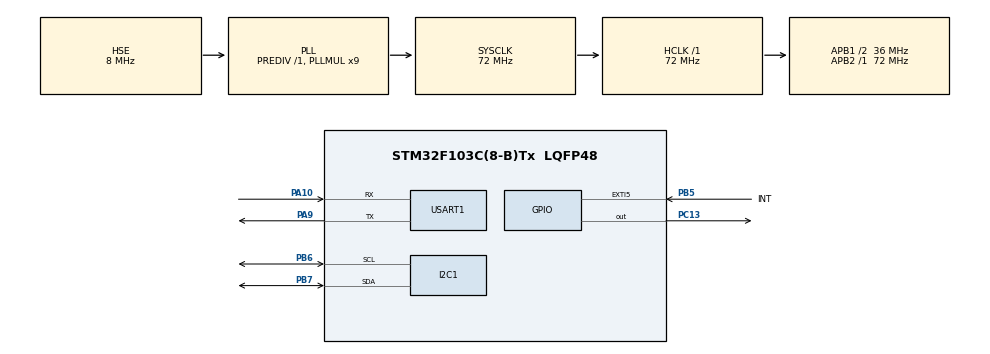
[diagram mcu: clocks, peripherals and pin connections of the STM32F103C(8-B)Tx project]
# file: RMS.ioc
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FREERTOS.Mutexes01=I2C_Bus,Dynamic,NULL,Available
FREERTOS.Queues01=StringPrint,10,20,1,Dynamic,NULL,NULL;StringRS485,50,50,1,Dynamic,NULL,NULL
FREERTOS.Tasks01=RXUARTTask,3,512,RX_Task,Default,NULL,Dynamic,NULL,NULL;LCD,1,512,LCD_Task,Default,NULL,Dynamic,NULL,NULL;ReadTempTask,-1,256,Temp_Task,Default,NULL,Dynamic,NULL,NULL;ReadPressTask,-1,256,Press_Task,Default,NULL,Dynamic,NULL,NULL;KeyTask,2,512,Key_Task,Default,NULL,Dynamic,NULL,NULL;TXUARTTask,0,512,TX_Task,Default,NULL,Dynamic,NULL,NULL
FREERTOS.configGENERATE_RUN_TIME_STATS=1
FREERTOS.configMAX_PRIORITIES=7
FREERTOS.configTOTAL_HEAP_SIZE=16384
FREERTOS.configUSE_NEWLIB_REENTRANT=1
FREERTOS.configUSE_STATS_FORMATTING_FUNCTIONS=1
FREERTOS.configUSE_TRACE_FACILITY=1
FREERTOS.copyHeapFile=0
Mcu.Family=STM32F1
Mcu.Name=STM32F103C(8-B)Tx
Mcu.Package=LQFP48
NVIC.EXTI9_5_IRQn=true\:5\:0\:false\:false\:true\:true\:true\:true\:true
NVIC.PriorityGroup=NVIC_PRIORITYGROUP_4
NVIC.TIM4_IRQn=true\:15\:0\:false\:false\:true\:false\:false\:true\:true
NVIC.TimeBase=TIM4_IRQn
NVIC.TimeBaseIP=TIM4
PA10.Mode=Asynchronous
PA10.Signal=USART1_RX
PA13.Mode=Serial_Wire
PA13.Signal=SYS_JTMS-SWDIO
PA14.Mode=Serial_Wire
PA14.Signal=SYS_JTCK-SWCLK
PA9.Mode=Asynchronous
PA9.Signal=USART1_TX
PB5.GPIO_Label=INT
PB5.GPIO_PuPd=GPIO_PULLUP
PB5.Signal=GPXTI5
PB6.Mode=I2C
PB6.Signal=I2C1_SCL
PB7.Mode=I2C
PB7.Signal=I2C1_SDA
PC13-TAMPER-RTC.Signal=GPIO_Output
PC14-OSC32_IN.Mode=LSE-External-Oscillator
PC14-OSC32_IN.Signal=RCC_OSC32_IN
PC15-OSC32_OUT.Mode=LSE-External-Oscillator
PC15-OSC32_OUT.Signal=RCC_OSC32_OUT
PD0-OSC_IN.Mode=HSE-External-Oscillator
PD0-OSC_IN.Signal=RCC_OSC_IN
PD1-OSC_OUT.Mode=HSE-External-Oscillator
PD1-OSC_OUT.Signal=RCC_OSC_OUT
ProjectManager.HeapSize=0x200
ProjectManager.StackSize=0x400
ProjectManager.TargetToolchain=STM32CubeIDE
RCC.AHBFreq_Value=72000000
RCC.APB1CLKDivider=RCC_HCLK_DIV2
RCC.APB1Freq_Value=36000000
RCC.APB1TimFreq_Value=72000000
RCC.APB2Freq_Value=72000000
RCC.APB2TimFreq_Value=72000000
RCC.HCLKFreq_Value=72000000
RCC.PLLMUL=RCC_PLL_MUL9
RCC.PLLSourceVirtual=RCC_PLLSOURCE_HSE
RCC.SYSCLKFreq_VALUE=72000000
RCC.SYSCLKSource=RCC_SYSCLKSOURCE_PLLCLK
RCC.USBFreq_Value=72000000
USART1.VirtualMode=VM_ASYNC
VP_FREERTOS_VS_CMSIS_V1.Mode=CMSIS_V1
VP_SYS_VS_tim4.Mode=TIM4
board=custom

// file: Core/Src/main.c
/* USER CODE BEGIN Header */
/**
  ******************************************************************************
  * @file           : main.c
  * @brief          : Main program body
  ******************************************************************************
  * @attention
  *
  * Copyright (c) 2025 STMicroelectronics.
  * All rights reserved.
  *
  * This software is licensed under terms that can be found in the LICENSE file
  * in the root directory of this software component.
  * If no LICENSE file comes with this software, it is provided AS-IS.
  *
  ******************************************************************************
  */
/* USER CODE END Header */
#include "main.h"
#include "cmsis_os.h"

/* USER CODE BEGIN Includes */
#include "liquidcrystal_i2c.h"
#include "stdio.h"
#include "MPR121.h"
#include "bmp180_for_stm32_hal.h"
#include "string.h"
#include "stdlib.h"
//#include "task.h"
//#include "FreeRTOSConfig.h"
/* USER CODE END Includes */

/* USER CODE BEGIN PM */
#define MASK_RESPONSE 127
#define RESPONSES(Code)   (Code)
#define UPGRADE(Code) (Code+MASK_RESPONSE)
#define CODE_TEMP  1
#define CODE_PRES  2
#define CODE_KEY   3
#define CODE_COUNT 4
#define CODE_RESP  5
#define MY_ADDRESS 111
#include "funtion.h"
/* USER CODE END PM */

I2C_HandleTypeDef hi2c1;

UART_HandleTypeDef huart1;

osThreadId RXUARTTaskHandle;
osThreadId LCDHandle;
osThreadId ReadTempTaskHandle;
osThreadId ReadPressTaskHandle;
osThreadId KeyTaskHandle;
osThreadId TXUARTTaskHandle;
osMessageQId StringPrintHandle;
osMessageQId StringRS485Handle;
osMutexId I2C_BusHandle;
/* USER CODE BEGIN PV */

#define C_INDEX 0
#define D_INDEX 1
#define T_INDEX 2

#define RX_PM_C 100
#define RX_PM_D 150
#define RX_PM_T 150

#define TX_PM_C 10
#define TX_PM_D 100
#define TX_PM_T 1000

#define TEMP_PM_C 7
#define TEMP_PM_D 5000
#define TEMP_PM_T 5000

#define PRES_PM_C 36
#define PRES_PM_D 5000
#define PRES_PM_T 5000

#define KEYB_PM_C 1
#define KEYB_PM_D 100
#define KEYB_PM_T 200

#define LCD_PM_C 50
#define LCD_PM_D 100
#define LCD_PM_T 1000

int RX_PM[] = {RX_PM_C, RX_PM_D, RX_PM_T};
int TX_PM[] = {TX_PM_C, TX_PM_D, TX_PM_T};
int Temp_PM[] = {TEMP_PM_C, TEMP_PM_D, TEMP_PM_T};
int Pres_PM[] = {PRES_PM_C, PRES_PM_D, PRES_PM_T};
int KeyB_PM[] = {KEYB_PM_C, KEYB_PM_D, KEYB_PM_T};
int LCD_PM[] = {LCD_PM_C, LCD_PM_D, LCD_PM_T};

int *ALL_TASK[] = {RX_PM, TX_PM, Temp_PM, Pres_PM, KeyB_PM, LCD_PM};

int DF_RX_PM[] = {RX_PM_C, RX_PM_D, RX_PM_T};
int DF_TX_PM[] = {TX_PM_C, TX_PM_D, TX_PM_T};
int DF_Temp_PM[] = {TEMP_PM_C, TEMP_PM_D, TEMP_PM_T};
int DF_Pres_PM[] = {PRES_PM_C, PRES_PM_D, PRES_PM_T};
int DF_KeyB_PM[] = {KEYB_PM_C, KEYB_PM_D, KEYB_PM_T};
int DF_LCD_PM[] = {LCD_PM_C, LCD_PM_D, LCD_PM_T};

int *DF_ALL_TASK[] = {DF_RX_PM, DF_TX_PM, DF_Temp_PM, DF_Pres_PM, DF_KeyB_PM, DF_LCD_PM};

char indicate_1[] = "Send To RS485";
char indicate_T[] = "Send Temperature";
char indicate_P[] = "Send Pressure";
char indicate_C[] = "Send Count";
char indicate_M[] = "Send Status";
char detect_touch[] = "Detect Touch %d";
char indicate_E[] = "CRC Error";
char indicate_E_CDT[] = "Invalid C D T";
char indicate_C_D_T[] = "Set C D T";
char indicate_R_C_D_T[] = "Reset C D T";
//char key_board[20];
float temperature;
int32_t pressure;
//uint8_t len_key_board = 0, last_send = 0;
uint16_t count_touch = 0;
/* USER CODE END PV */

void SystemClock_Config(void);
static void MX_GPIO_Init(void);
static void MX_I2C1_Init(void);
static void MX_USART1_UART_Init(void);
void RX_Task(void const * argument);
void LCD_Task(void const * argument);
void Temp_Task(void const * argument);
void Press_Task(void const * argument);
void Key_Task(void const * argument);
void TX_Task(void const * argument);

/* USER CODE BEGIN PFP */
void HAL_GPIO_EXTI_Callback(uint16_t GPIO_Pin);
/* USER CODE END PFP */

/* USER CODE BEGIN 0 */
void UserDelayUntil(uint32_t *lastTick, uint32_t periodMs)
{
    uint32_t currentTick = xTaskGetTickCount();  // Lấy tick hiện tại
    uint32_t nextTick = *lastTick + pdMS_TO_TICKS(periodMs);  // Tính tick tiếp theo
    if ((int32_t)(nextTick - currentTick) > 0)
    {
        vTaskDelay(nextTick - currentTick);  // Delay nếu chưa tới thời gian tiếp theo
    }
    *lastTick = nextTick;  // Cập nhật tick cho lần tiếp theo
}

/* USER CODE END 0 */

int main(void)
{

  /* MCU Configuration--------------------------------------------------------*/

  /* Reset of all peripherals, Initializes the Flash interface and the Systick. */
  HAL_Init();

  /* Configure the system clock */
  SystemClock_Config();

  /* Initialize all configured peripherals */
  MX_GPIO_Init();
  MX_I2C1_Init();
  MX_USART1_UART_Init();
  /* USER CODE BEGIN 2 */
  HD44780_Init(2);
  MPR121_Init();
  BMP180_Init(&hi2c1);
  MPR121_Init();
  BMP180_SetOversampling(BMP180_ULTRA);
  BMP180_UpdateCalibrationData();
  HD44780_SetCursor(0,0);
  HD44780_PrintStr("INIT LCD 1602");
//  count_touch = 0;

  /* USER CODE END 2 */

  /* Create the mutex(es) */
  /* definition and creation of I2C_Bus */
  osMutexDef(I2C_Bus);
  I2C_BusHandle = osMutexCreate(osMutex(I2C_Bus));

  /* Create the queue(s) */
  /* definition and creation of StringPrint */
  osMessageQDef(StringPrint, 10, 20);
  StringPrintHandle = osMessageCreate(osMessageQ(StringPrint), NULL);

  /* definition and creation of StringRS485 */
  osMessageQDef(StringRS485, 50, 50);
  StringRS485Handle = osMessageCreate(osMessageQ(StringRS485), NULL);

  /* Create the thread(s) */
  /* definition and creation of RXUARTTask */
  osThreadDef(RXUARTTask, RX_Task, osPriorityRealtime, 0, 512);
  RXUARTTaskHandle = osThreadCreate(osThread(RXUARTTask), NULL);

  /* definition and creation of LCD */
  osThreadDef(LCD, LCD_Task, osPriorityAboveNormal, 0, 512);
  LCDHandle = osThreadCreate(osThread(LCD), NULL);

  /* definition and creation of ReadTempTask */
  osThreadDef(ReadTempTask, Temp_Task, osPriorityBelowNormal, 0, 256);
  ReadTempTaskHandle = osThreadCreate(osThread(ReadTempTask), NULL);

  /* definition and creation of ReadPressTask */
  osThreadDef(ReadPressTask, Press_Task, osPriorityBelowNormal, 0, 256);
  ReadPressTaskHandle = osThreadCreate(osThread(ReadPressTask), NULL);

  /* definition and creation of KeyTask */
  osThreadDef(KeyTask, Key_Task, osPriorityHigh, 0, 512);
  KeyTaskHandle = osThreadCreate(osThread(KeyTask), NULL);

  /* definition and creation of TXUARTTask */
  osThreadDef(TXUARTTask, TX_Task, osPriorityNormal, 0, 512);
  TXUARTTaskHandle = osThreadCreate(osThread(TXUARTTask), NULL);

  /* Start scheduler */
  osKernelStart();

  /* We should never get here as control is now taken by the scheduler */

  /* Infinite loop */
  while (1)
  {

  }
}

void SystemClock_Config(void)
{
  RCC_OscInitTypeDef RCC_OscInitStruct = {0};
  RCC_ClkInitTypeDef RCC_ClkInitStruct = {0};

  /** Initializes the RCC Oscillators according to the specified parameters
  * in the RCC_OscInitTypeDef structure.
  */
  RCC_OscInitStruct.OscillatorType = RCC_OSCILLATORTYPE_HSE;
  RCC_OscInitStruct.HSEState = RCC_HSE_ON;
  RCC_OscInitStruct.HSEPredivValue = RCC_HSE_PREDIV_DIV1;
  RCC_OscInitStruct.HSIState = RCC_HSI_ON;
  RCC_OscInitStruct.PLL.PLLState = RCC_PLL_ON;
  RCC_OscInitStruct.PLL.PLLSource = RCC_PLLSOURCE_HSE;
  RCC_OscInitStruct.PLL.PLLMUL = RCC_PLL_MUL9;
  if (HAL_RCC_OscConfig(&RCC_OscInitStruct) != HAL_OK)
  {
    Error_Handler();
  }

  /** Initializes the CPU, AHB and APB buses clocks
  */
  RCC_ClkInitStruct.ClockType = RCC_CLOCKTYPE_HCLK|RCC_CLOCKTYPE_SYSCLK
                              |RCC_CLOCKTYPE_PCLK1|RCC_CLOCKTYPE_PCLK2;
  RCC_ClkInitStruct.SYSCLKSource = RCC_SYSCLKSOURCE_PLLCLK;
  RCC_ClkInitStruct.AHBCLKDivider = RCC_SYSCLK_DIV1;
  RCC_ClkInitStruct.APB1CLKDivider = RCC_HCLK_DIV2;
  RCC_ClkInitStruct.APB2CLKDivider = RCC_HCLK_DIV1;

  if (HAL_RCC_ClockConfig(&RCC_ClkInitStruct, FLASH_LATENCY_2) != HAL_OK)
  {
    Error_Handler();
  }
}

static void MX_I2C1_Init(void)
{

  hi2c1.Instance = I2C1;
  hi2c1.Init.ClockSpeed = 100000;
  hi2c1.Init.DutyCycle = I2C_DUTYCYCLE_2;
  hi2c1.Init.OwnAddress1 = 0;
  hi2c1.Init.AddressingMode = I2C_ADDRESSINGMODE_7BIT;
  hi2c1.Init.DualAddressMode = I2C_DUALADDRESS_DISABLE;
  hi2c1.Init.OwnAddress2 = 0;
  hi2c1.Init.GeneralCallMode = I2C_GENERALCALL_DISABLE;
  hi2c1.Init.NoStretchMode = I2C_NOSTRETCH_DISABLE;
  if (HAL_I2C_Init(&hi2c1) != HAL_OK)
  {
    Error_Handler();
  }

}

static void MX_USART1_UART_Init(void)
{

  huart1.Instance = USART1;
  huart1.Init.BaudRate = 115200;
  huart1.Init.WordLength = UART_WORDLENGTH_8B;
  huart1.Init.StopBits = UART_STOPBITS_1;
  huart1.Init.Parity = UART_PARITY_NONE;
  huart1.Init.Mode = UART_MODE_TX_RX;
  huart1.Init.HwFlowCtl = UART_HWCONTROL_NONE;
  huart1.Init.OverSampling = UART_OVERSAMPLING_16;
  if (HAL_UART_Init(&huart1) != HAL_OK)
  {
    Error_Handler();
  }

}

static void MX_GPIO_Init(void)
{
  GPIO_InitTypeDef GPIO_InitStruct = {0};

  /* GPIO Ports Clock Enable */
  __HAL_RCC_GPIOC_CLK_ENABLE();
  __HAL_RCC_GPIOD_CLK_ENABLE();
  __HAL_RCC_GPIOA_CLK_ENABLE();
  __HAL_RCC_GPIOB_CLK_ENABLE();

  /*Configure GPIO pin Output Level */
  HAL_GPIO_WritePin(GPIOC, GPIO_PIN_13, GPIO_PIN_RESET);

  /*Configure GPIO pin : PC13 */
  GPIO_InitStruct.Pin = GPIO_PIN_13;
  GPIO_InitStruct.Mode = GPIO_MODE_OUTPUT_PP;
  GPIO_InitStruct.Pull = GPIO_NOPULL;
  GPIO_InitStruct.Speed = GPIO_SPEED_FREQ_LOW;
  HAL_GPIO_Init(GPIOC, &GPIO_InitStruct);

  /*Configure GPIO pin : INT_Pin */
  GPIO_InitStruct.Pin = INT_Pin;
  GPIO_InitStruct.Mode = GPIO_MODE_IT_RISING;
  GPIO_InitStruct.Pull = GPIO_PULLUP;
  HAL_GPIO_Init(INT_GPIO_Port, &GPIO_InitStruct);

  /* EXTI interrupt init*/
  HAL_NVIC_SetPriority(EXTI9_5_IRQn, 5, 0);
  HAL_NVIC_EnableIRQ(EXTI9_5_IRQn);

}

/* USER CODE BEGIN 4 */
void HAL_GPIO_EXTI_Callback(uint16_t GPIO_Pin)
{
	if(GPIO_Pin == INT_Pin) {
		HAL_GPIO_TogglePin(GPIOC, GPIO_PIN_13);
		count_touch++;
	} else {
		__NOP();
	}
}

/* USER CODE END 4 */

void RX_Task(void const * argument)
{
  /* USER CODE BEGIN 5 */
  /* Infinite loop */
	char read_to_rs485[50];
	char send_to_rs485[50];
	uint32_t GetTick = 0;
  for(;;)
  {
		memset((void*)read_to_rs485,0,sizeof(read_to_rs485));
		HAL_UART_Receive(&huart1, (uint8_t *)&read_to_rs485, sizeof (read_to_rs485) , RX_PM[C_INDEX]);
		  if(strlen(read_to_rs485) > 1)
		  {
			  HAL_GPIO_TogglePin(GPIOC, GPIO_PIN_13);
			  DataStruct result;
			  parse_data(read_to_rs485,&result);
			  if(result.Addr == MY_ADDRESS && check_crc(&result) == result.Crc)
			  {
				  if(result.Code == 1)
				  {
					  if(result.Data[0] == '1')
					  {
						  memset((void*)send_to_rs485,0,sizeof(send_to_rs485));
						  sprintf(send_to_rs485, "%.1fC", temperature);
						  send_to_rs485[strlen(send_to_rs485)+1] = RESPONSES(CODE_TEMP);
						  osMessagePut(StringRS485Handle, (uint32_t)send_to_rs485, osWaitForever);
						  osMessagePut(StringPrintHandle, (uint32_t)indicate_T, osWaitForever);
					  }
					  else if (result.Data[0] == '2')
					  {
						  memset((void*)send_to_rs485,0,sizeof(send_to_rs485));
						  sprintf(send_to_rs485, "%dPa", (int) pressure);
						  send_to_rs485[strlen(send_to_rs485)+1] = RESPONSES(CODE_PRES);
						  osMessagePut(StringRS485Handle, (uint32_t)send_to_rs485, osWaitForever);
						  osMessagePut(StringPrintHandle, (uint32_t)indicate_P, osWaitForever);
					  }
					  else if (result.Data[0] == '4')
					  {
						  memset((void*)send_to_rs485,0,sizeof(send_to_rs485));
						  sprintf(send_to_rs485, "%dN", (int) count_touch);
						  send_to_rs485[strlen(send_to_rs485)+1] = RESPONSES(CODE_COUNT);
						  osMessagePut(StringRS485Handle, (uint32_t)send_to_rs485, osWaitForever);
						  osMessagePut(StringPrintHandle, (uint32_t)indicate_C, osWaitForever);
					  }
					  else
					  {
						  memset((void*)send_to_rs485,0,sizeof(send_to_rs485));
						  sprintf(send_to_rs485, "Invalid Data");
						  send_to_rs485[strlen(send_to_rs485)+1] = RESPONSES(CODE_RESP);
						  osMessagePut(StringRS485Handle, (uint32_t)send_to_rs485, osWaitForever);
						  osMessagePut(StringPrintHandle, (uint32_t)send_to_rs485, osWaitForever);
					  }
				  }
				  else if(result.Code == 2)
				  {
					  result.Data[result.Len] = '\0';
					  memset((void*)send_to_rs485,0,sizeof(send_to_rs485));
					  sprintf(send_to_rs485, "Okee");
					  send_to_rs485[strlen(send_to_rs485)+1] = RESPONSES(CODE_RESP);
					  osMessagePut(StringRS485Handle, (uint32_t)send_to_rs485, osWaitForever);
					  osMessagePut(StringPrintHandle, (uint32_t)result.Data, osWaitForever);
				  }
				  else if(result.Code == 3)
				  {
					  result.Data[result.Len] = '\0';
					  memset((void*)send_to_rs485,0,sizeof(send_to_rs485));
					  sprintf(send_to_rs485, "Okee");
					  send_to_rs485[strlen(send_to_rs485)+1] = RESPONSES(CODE_RESP);
					  osMessagePut(StringRS485Handle, (uint32_t)send_to_rs485, osWaitForever);
					  osMessagePut(StringPrintHandle, (uint32_t)indicate_M, osWaitForever);
				  }
				  else if(result.Code == 4)
				  {
					  int Task = -1, NewC = 0, NewD = 0, NewT = 0;
					  char *Res = indicate_E_CDT;
					  result.Data[result.Len] = '\0';
					  if(sscanf((char*)result.Data, "%d%d%d%d",&Task, &NewC, &NewD, &NewT) == 4)
					  {
						  if(Task >= 0 && Task < 6 && NewC < NewD && NewD <= NewT)
						  {
							  ALL_TASK[Task][C_INDEX] = NewC;
							  ALL_TASK[Task][D_INDEX] = NewD;
							  ALL_TASK[Task][T_INDEX] = NewT;
							  Res = indicate_C_D_T;
						  }
					  }
					  memset((void*)send_to_rs485,0,sizeof(send_to_rs485));
					  sprintf(send_to_rs485, Res);
					  send_to_rs485[strlen(send_to_rs485)+1] = RESPONSES(CODE_RESP);
					  osMessagePut(StringRS485Handle, (uint32_t)send_to_rs485, osWaitForever);
					  osMessagePut(StringPrintHandle, (uint32_t)Res, osWaitForever);
				  }
				  else if(result.Code == 5)
				  {
					  for(int i = 0; i < 5; i++)
					  {
						  for (int j = 0; j < 3; j++)
						  {
							  ALL_TASK[i][j] = DF_ALL_TASK[i][j];
						  }
					  }
					  memset((void*)send_to_rs485,0,sizeof(send_to_rs485));
					  sprintf(send_to_rs485, indicate_R_C_D_T);
					  send_to_rs485[strlen(send_to_rs485)+1] = RESPONSES(CODE_RESP);
					  osMessagePut(StringRS485Handle, (uint32_t)send_to_rs485, osWaitForever);
					  osMessagePut(StringPrintHandle, (uint32_t)indicate_R_C_D_T, osWaitForever);
				  }
				  else
				  {
					  memset((void*)send_to_rs485,0,sizeof(send_to_rs485));
					  sprintf(send_to_rs485, "Invalid Code");
					  send_to_rs485[strlen(send_to_rs485)+1] = RESPONSES(CODE_RESP);
					  osMessagePut(StringRS485Handle, (uint32_t)send_to_rs485, osWaitForever);
					  osMessagePut(StringPrintHandle, (uint32_t)send_to_rs485, osWaitForever);
				  }
			  }
			  else if(check_crc(&result) != result.Crc)
			  {
				  result.Data[result.Len] = '\0';
				  memset((void*)send_to_rs485,0,sizeof(send_to_rs485));
				  sprintf(send_to_rs485, "Error Crc");
				  osMessagePut(StringRS485Handle, (uint32_t)send_to_rs485, osWaitForever);
				  osMessagePut(StringPrintHandle, (uint32_t)indicate_E, osWaitForever);
			  }
		  }
		  osDelay(20);
		  UserDelayUntil(&GetTick,RX_PM[T_INDEX]);
  }
  /* USER CODE END 5 */
}

void LCD_Task(void const * argument)
{
  /* USER CODE BEGIN LCD_Task */
  /* Infinite loop */
	  osEvent event;
	  char LastMessage[20] = "Init LCD";
	  char *NewMessage = NULL;
	  uint32_t GetTick = 0;
  for(;;)
  {
	  event = osMessageGet(StringPrintHandle, osWaitForever);
	  if (event.status == osEventMessage)
	  {
		  NewMessage = (char*)event.value.v;
		  if (osMutexWait(I2C_BusHandle, osWaitForever) == osOK)
		  {
			HD44780_Clear();
	        HD44780_SetCursor(0,0);
			HD44780_PrintStr(LastMessage);
			HD44780_SetCursor(0,1);
			HD44780_PrintStr(NewMessage);
	        osMutexRelease(I2C_BusHandle);
		  }
		  if(NewMessage != NULL)
		  {
			  memcpy(LastMessage, NewMessage, strlen(NewMessage));
			  LastMessage[strlen(NewMessage)] = '\0';
		  }
	  }
	  UserDelayUntil(&GetTick,LCD_PM[T_INDEX]);
//	  osDelay(1000);
  }
  /* USER CODE END LCD_Task */
}

void Temp_Task(void const * argument)
{
  /* USER CODE BEGIN Temp_Task */
  /* Infinite loop */
//	float temperature;
	uint32_t GetTick = 0;
  for(;;)
  {
	    if (osMutexWait(I2C_BusHandle, osWaitForever) == osOK)
	    {
	    	temperature = BMP180_GetTemperature();
	        osMutexRelease(I2C_BusHandle);
	    }
	    char sen_to_lcd[20] = "";
	    sprintf(sen_to_lcd,"%0.1fC", temperature);
	    osMessagePut(StringPrintHandle, (uint32_t)sen_to_lcd, osWaitForever);
	    sen_to_lcd[strlen(sen_to_lcd)+1] = UPGRADE(CODE_TEMP);
	    osMessagePut(StringRS485Handle, (uint32_t)sen_to_lcd, osWaitForever);
//	    osDelay(5000);
	    UserDelayUntil(&GetTick,Temp_PM[T_INDEX]);
  }
  /* USER CODE END Temp_Task */
}

void Press_Task(void const * argument)
{
  /* USER CODE BEGIN Press_Task */
  /* Infinite loop */
//	int32_t pressure;
	osDelay(2500);
	uint32_t GetTick = 0;
  for(;;)
  {
	    if (osMutexWait(I2C_BusHandle, osWaitForever) == osOK)
	    {
	    	pressure = BMP180_GetPressure();
	        osMutexRelease(I2C_BusHandle);
	    }
	    osDelay(Pres_PM[T_INDEX]/2);
	    char sen_to_lcd[20];
	    sprintf(sen_to_lcd,"%dPa", (int)pressure);
	    osMessagePut(StringPrintHandle, (uint32_t)sen_to_lcd, osWaitForever);
	    sen_to_lcd[strlen(sen_to_lcd)+1] = UPGRADE(CODE_PRES);
	    osMessagePut(StringRS485Handle, (uint32_t)sen_to_lcd, osWaitForever);
	    UserDelayUntil(&GetTick,Pres_PM[T_INDEX]);
  }
  /* USER CODE END Press_Task */
}

void Key_Task(void const * argument)
{
  /* USER CODE BEGIN Key_Task */
  /* Infinite loop */
	char key_board[20];
	uint8_t len_key_board = 0;
	uint16_t last_touch = 0, new_touch = 0;
	uint32_t GetTick = 0;
  for(;;)
  {
		if (osMutexWait(I2C_BusHandle, osWaitForever) == osOK)
		{
			new_touch = touched();
			osMutexRelease(I2C_BusHandle);
		}
	  if(new_touch != last_touch)
	  {
		  if(new_touch == 0)
		  {
			  char C = convert_to_char(last_touch);
			  if(C != '\0' && C != '*' && C != '#')
			  {
				  if(len_key_board < 16)
				  {
					  key_board[len_key_board++] = C;
					  key_board[len_key_board] = '\0';
				  }
				  else
				  {
					  memmove(key_board,&key_board[1],sizeof(key_board) - 1);
					  key_board[len_key_board - 1] = C;
					  key_board[len_key_board] = '\0';
				  }
				  char sen_to_lcd[20];
				  sprintf(sen_to_lcd, "Detect Touch %d",count_touch);
				  osMessagePut(StringPrintHandle, (uint32_t)sen_to_lcd, osWaitForever);
			  }
			  else if(C == '#' && len_key_board > 0)
			  {
//				  osMessagePut(StringPrintHandle, (uint32_t)indicate_1, osWaitForever);
				  osMessagePut(StringPrintHandle, (uint32_t)key_board, osWaitForever);
				  key_board[strlen(key_board)+1] = UPGRADE(CODE_KEY);
				  osMessagePut(StringRS485Handle, (uint32_t)key_board, osWaitForever);
				  len_key_board = 0;
			  }
			  else if(C == '*' && len_key_board > 0)
			  {
				  key_board[--len_key_board] = '\0';
				  osMessagePut(StringPrintHandle, (uint32_t)key_board, osWaitForever);
			  }
		  }
	  }
	  last_touch = new_touch;
	  osDelay(20);
	  UserDelayUntil(&GetTick,KeyB_PM[T_INDEX]);
  }
  /* USER CODE END Key_Task */
}

void TX_Task(void const * argument)
{
  /* USER CODE BEGIN TX_Task */
  /* Infinite loop */
	char *receivedMessageTX = NULL;
	char send_to_bus_rs485[50];
	osEvent event;
	uint32_t GetTick = 0;
  for(;;)
  {
	  event = osMessageGet(StringRS485Handle, osWaitForever);
	  if (event.status == osEventMessage) {
		  receivedMessageTX = (char*)event.value.v;
		  memset(send_to_bus_rs485,0,sizeof(send_to_bus_rs485));
		  uint8_t Code = receivedMessageTX[strlen(receivedMessageTX)+1];
		  memcpy(send_to_bus_rs485, receivedMessageTX, strlen(receivedMessageTX));
		  gen_data_send_rs485(Code,send_to_bus_rs485);
		  if(HAL_UART_Transmit(&huart1, (uint8_t *)send_to_bus_rs485, strlen(send_to_bus_rs485) , 1000) == HAL_OK)
		  {
			  HAL_GPIO_TogglePin(GPIOC, GPIO_PIN_13);
		  }
	  }
	  osDelay(20);
	  UserDelayUntil(&GetTick,TX_PM[T_INDEX]);
  }
  /* USER CODE END TX_Task */
}

void HAL_TIM_PeriodElapsedCallback(TIM_HandleTypeDef *htim)
{
  if (htim->Instance == TIM4) {
    HAL_IncTick();
  }
}

void Error_Handler(void)
{
  __disable_irq();
  while (1)
  {
  }
}

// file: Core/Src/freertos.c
/* USER CODE BEGIN Header */
/**
  ******************************************************************************
  * File Name          : freertos.c
  * Description        : Code for freertos applications
  ******************************************************************************
  * @attention
  *
  * Copyright (c) 2025 STMicroelectronics.
  * All rights reserved.
  *
  * This software is licensed under terms that can be found in the LICENSE file
  * in the root directory of this software component.
  * If no LICENSE file comes with this software, it is provided AS-IS.
  *
  ******************************************************************************
  */
/* USER CODE END Header */

#include "FreeRTOS.h"
#include "task.h"
#include "main.h"

/* GetIdleTaskMemory prototype (linked to static allocation support) */
void vApplicationGetIdleTaskMemory( StaticTask_t **ppxIdleTaskTCBBuffer, StackType_t **ppxIdleTaskStackBuffer, uint32_t *pulIdleTaskStackSize );

/* Hook prototypes */
void configureTimerForRunTimeStats(void);
unsigned long getRunTimeCounterValue(void);

/* USER CODE BEGIN 1 */
/* Functions needed when configGENERATE_RUN_TIME_STATS is on */
__weak void configureTimerForRunTimeStats(void)
{

}

__weak unsigned long getRunTimeCounterValue(void)
{
return 0;
}
/* USER CODE END 1 */

/* USER CODE BEGIN GET_IDLE_TASK_MEMORY */
static StaticTask_t xIdleTaskTCBBuffer;
static StackType_t xIdleStack[configMINIMAL_STACK_SIZE];

void vApplicationGetIdleTaskMemory( StaticTask_t **ppxIdleTaskTCBBuffer, StackType_t **ppxIdleTaskStackBuffer, uint32_t *pulIdleTaskStackSize )
{
  *ppxIdleTaskTCBBuffer = &xIdleTaskTCBBuffer;
  *ppxIdleTaskStackBuffer = &xIdleStack[0];
  *pulIdleTaskStackSize = configMINIMAL_STACK_SIZE;
  /* place for user code */
}
/* USER CODE END GET_IDLE_TASK_MEMORY */
